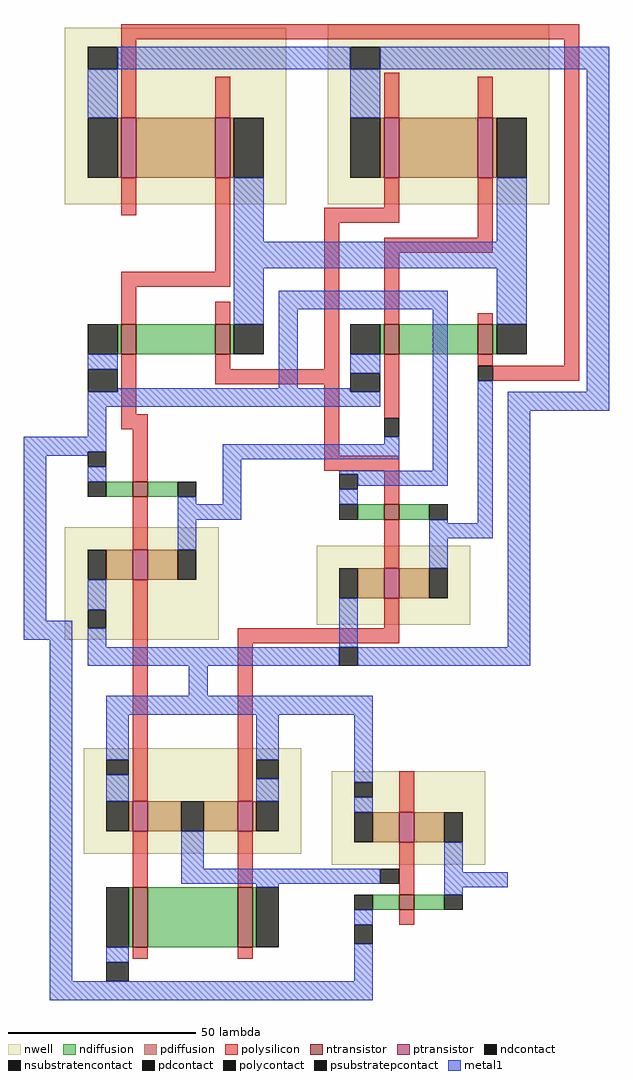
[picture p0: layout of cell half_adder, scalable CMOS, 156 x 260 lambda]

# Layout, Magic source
magic
tech scmos
<< nwell >>
rect 0 0 59 47
rect 70 0 129 48
rect 0 -116 41 -86
rect 67 -112 108 -91
rect 5 -173 63 -145
rect 71 -176 112 -151
<< ntransistor >>
rect 15 -40 19 -32
rect 40 -40 44 -32
rect 85 -40 89 -32
rect 110 -40 114 -32
rect 18 -78 22 -74
rect 85 -84 89 -80
rect 18 -198 22 -182
rect 46 -198 50 -182
rect 89 -188 93 -184
<< ptransistor >>
rect 15 7 19 23
rect 40 7 44 23
rect 85 7 89 23
rect 110 7 114 23
rect 18 -100 22 -92
rect 85 -105 89 -97
rect 18 -167 22 -159
rect 46 -167 50 -159
rect 89 -170 93 -162
<< ndiffusion >>
rect 14 -40 15 -32
rect 19 -40 40 -32
rect 44 -40 45 -32
rect 84 -40 85 -32
rect 89 -40 110 -32
rect 114 -40 115 -32
rect 11 -78 18 -74
rect 22 -78 30 -74
rect 78 -84 85 -80
rect 89 -84 97 -80
rect 17 -198 18 -182
rect 22 -198 46 -182
rect 50 -198 51 -182
rect 82 -188 89 -184
rect 93 -188 101 -184
<< pdiffusion >>
rect 14 7 15 23
rect 19 7 40 23
rect 44 7 45 23
rect 84 7 85 23
rect 89 7 110 23
rect 114 7 115 23
rect 11 -100 18 -92
rect 22 -100 30 -92
rect 78 -105 85 -97
rect 89 -105 97 -97
rect 17 -167 18 -159
rect 22 -167 31 -159
rect 37 -167 46 -159
rect 50 -167 51 -159
rect 82 -170 89 -162
rect 93 -170 101 -162
<< ndcontact >>
rect 6 -40 14 -32
rect 45 -40 53 -32
rect 76 -40 84 -32
rect 115 -40 123 -32
rect 6 -78 11 -74
rect 30 -78 35 -74
rect 73 -84 78 -80
rect 97 -84 102 -80
rect 11 -198 17 -182
rect 51 -198 57 -182
rect 77 -188 82 -184
rect 101 -188 106 -184
<< pdcontact >>
rect 6 7 14 23
rect 45 7 53 23
rect 76 7 84 23
rect 115 7 123 23
rect 6 -100 11 -92
rect 30 -100 35 -92
rect 73 -105 78 -97
rect 97 -105 102 -97
rect 11 -167 17 -159
rect 31 -167 37 -159
rect 51 -167 57 -159
rect 77 -170 82 -162
rect 101 -170 106 -162
<< psubstratepcontact >>
rect 6 -50 14 -44
rect 6 -70 11 -66
rect 76 -50 84 -45
rect 73 -76 78 -72
rect 77 -197 82 -192
rect 11 -207 17 -202
<< nsubstratencontact >>
rect 6 36 14 42
rect 76 36 84 42
rect 6 -113 11 -108
rect 11 -152 17 -148
rect 73 -123 78 -118
rect 51 -153 57 -148
rect 77 -158 82 -154
<< polysilicon >>
rect 15 44 137 48
rect 15 23 19 44
rect 40 23 44 34
rect 85 23 89 35
rect 110 23 114 34
rect 15 -3 19 7
rect 40 -18 44 7
rect 85 -1 89 7
rect 15 -22 44 -18
rect 69 -5 89 -1
rect 15 -32 19 -22
rect 40 -32 44 -26
rect 15 -56 19 -40
rect 40 -44 44 -40
rect 69 -44 73 -5
rect 110 -9 114 7
rect 85 -13 114 -9
rect 85 -32 89 -13
rect 110 -32 114 -29
rect 40 -48 73 -44
rect 15 -60 22 -56
rect 18 -74 22 -60
rect 69 -67 73 -48
rect 85 -57 89 -40
rect 110 -43 114 -40
rect 133 -43 137 44
rect 114 -47 137 -43
rect 69 -71 89 -67
rect 18 -92 22 -78
rect 85 -80 89 -71
rect 85 -97 89 -84
rect 18 -159 22 -100
rect 85 -113 89 -105
rect 46 -117 89 -113
rect 46 -159 50 -117
rect 89 -162 93 -151
rect 18 -182 22 -167
rect 46 -182 50 -167
rect 89 -184 93 -170
rect 89 -192 93 -188
rect 18 -201 22 -198
rect 46 -201 50 -198
<< polycontact >>
rect 110 -47 114 -43
rect 85 -62 89 -57
rect 84 -181 89 -177
<< metal1 >>
rect 14 36 76 42
rect 84 36 145 42
rect 6 23 14 36
rect 76 23 84 36
rect 45 -10 53 7
rect 115 -10 123 7
rect 45 -17 123 -10
rect 45 -32 53 -17
rect 57 -28 102 -23
rect 6 -44 14 -40
rect 57 -49 62 -28
rect 76 -45 84 -40
rect 14 -50 76 -49
rect 6 -54 84 -50
rect 6 -62 11 -54
rect -11 -66 11 -62
rect 85 -64 89 -62
rect -11 -67 6 -66
rect -11 -111 -5 -67
rect 6 -74 11 -70
rect 42 -68 89 -64
rect 30 -80 35 -78
rect 42 -80 47 -68
rect 98 -71 102 -28
rect 115 -32 123 -17
rect 30 -84 47 -80
rect 73 -72 102 -71
rect 78 -75 102 -72
rect 73 -80 78 -76
rect 30 -92 35 -84
rect 97 -85 102 -84
rect 110 -85 114 -47
rect 139 -50 145 36
rect 97 -89 114 -85
rect 118 -55 145 -50
rect 97 -97 102 -89
rect 6 -108 11 -100
rect -11 -116 2 -111
rect -4 -207 2 -116
rect 6 -118 11 -113
rect 73 -118 78 -105
rect 118 -118 124 -55
rect 6 -123 73 -118
rect 78 -123 124 -118
rect 33 -131 38 -123
rect 11 -136 82 -131
rect 11 -148 17 -136
rect 11 -159 17 -152
rect 51 -148 57 -136
rect 51 -159 57 -153
rect 77 -154 82 -136
rect 77 -162 82 -158
rect 31 -177 37 -167
rect 31 -181 84 -177
rect 101 -178 106 -170
rect 51 -182 57 -181
rect 101 -182 118 -178
rect 101 -184 106 -182
rect 77 -192 82 -188
rect 11 -202 17 -198
rect 77 -207 82 -197
rect -4 -212 82 -207
<< end >>
